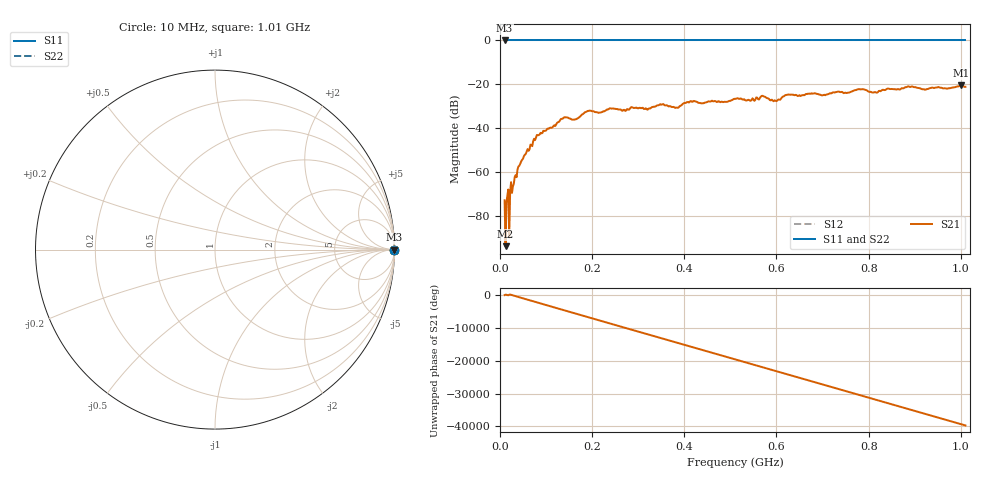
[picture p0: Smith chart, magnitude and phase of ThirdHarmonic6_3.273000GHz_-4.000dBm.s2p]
! 8/17/2025 10:07:50 AM
! C:\ANRITSUVNA\TEMP\TEMP.S2P
! CHANNEL.1
! TR.MEASUREMENT
! RAW.DATA
! RF.CORRECTION.OFF
! AVERAGING.OFF
! IF.BANDWIDTH: 5KHZ
! SWEEPTYPE:  FREQ.SWEEP(Linear)
! Reference Plane Port Info
! PORT:  PORT1  PORT2
! DISTANCE:  0  m  0  m
! TIME:  0  s  0  s
! PHASE.OFFSET:  0  deg.  0  deg.
! LOSS:  0  dB  0  dB
! REF.LOSS:  0  dB  0  dB
! REF.FREQ:  0  Hz  0  Hz
! Power Info
! POWER:  -20  dBm  -20  dBm
! EFF.POWER:  -20  dBm  -20  dBm
! SOURCE.ATTEN:  0  dB  0  dB
! TEST.ATTEN:  0  dB  0  dB
# GHZ S RI R 50.0
! FREQ.GHZ  S11RE  S11IM  S21RE  S21IM  S12RE  S12IM  S22RE  S22IM
!; PortSelection: Port_12
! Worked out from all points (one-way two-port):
!   501 points, 10 MHz to 1.01 GHz, reference 50 ohm
!   highest |S21| = -20.55 dB at 1 GHz (marker M1); lowest = -94.0 dB at 12 MHz (marker M2)
!   lowest |S11| = 0.0 dB at 10 MHz (marker M3)
!   |S11| at or under -10 dB: nowhere
!   |S22| runs from 0.0 to 0.0 dB; largest |S21 - S12| = 1.1
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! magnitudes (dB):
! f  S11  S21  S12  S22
! 10 MHz  0.0  -73.1  0.0  0.0
! 12 MHz  0.0  -94.0  0.0  0.0
! 16 MHz  0.0  -70.8  0.0  0.0
! 20 MHz  0.0  -90.0  0.0  0.0
! 24 MHz  0.0  -64.8  0.0  0.0
! 26 MHz  0.0  -69.7  0.0  0.0
! 42 MHz  0.0  -57.2  0.0  0.0
! 78 MHz  0.0  -44.5  0.0  0.0
! 136 MHz  0.0  -35.7  0.0  0.0
! 162 MHz  0.0  -36.2  0.0  0.0
! 178 MHz  0.0  -33.8  0.0  0.0
! 344 MHz  0.0  -29.6  0.0  0.0
! 384 MHz  0.0  -30.7  0.0  0.0
! 416 MHz  0.0  -27.9  0.0  0.0
! 510 MHz  0.0  -26.7  0.0  0.0
! 570 MHz  0.0  -25.3  0.0  0.0
! 598 MHz  0.0  -27.5  0.0  0.0
! 622 MHz  0.0  -24.9  0.0  0.0
! 678 MHz  0.0  -24.3  0.0  0.0
! 844 MHz  0.0  -22.1  0.0  0.0
! 1 GHz  0.0  -20.5  0.0  0.0
! 1.01 GHz  0.0  -21.2  0.0  0.0
